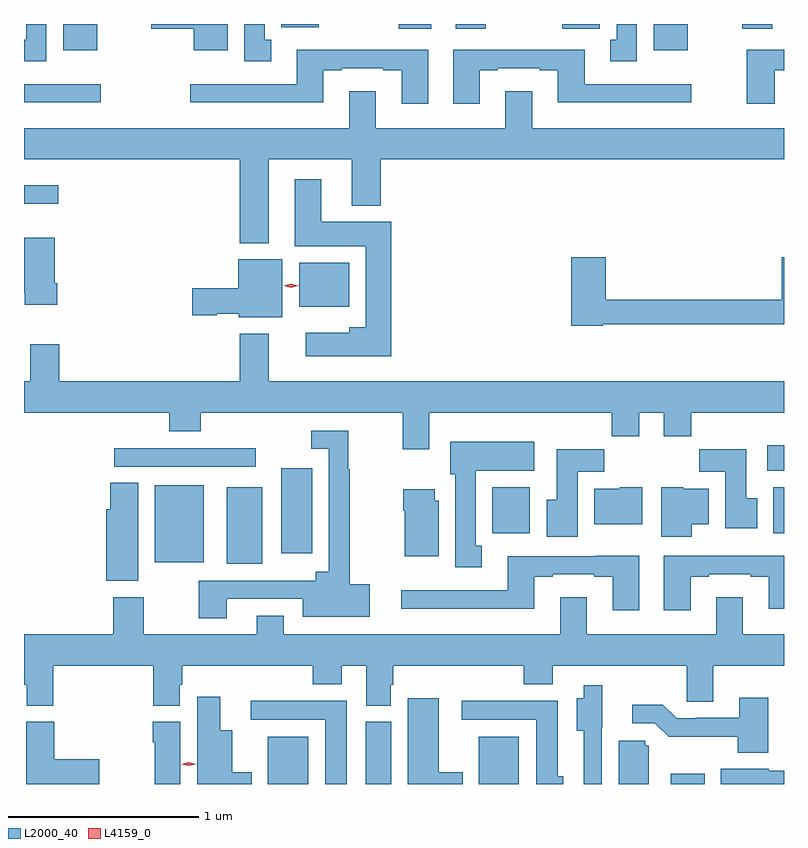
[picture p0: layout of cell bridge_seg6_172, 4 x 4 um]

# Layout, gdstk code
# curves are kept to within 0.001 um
import gdstk
lib = gdstk.Library(unit=1e-6, precision=1e-09)
def R(c, l, rs):  # rectangles x0, y0, x1, y1
    for r in rs: c.add(gdstk.rectangle(r[:2], r[2:], *l))
def P(c, l, *ps):  # polygons
    for p in ps: c.add(gdstk.Polygon(p, *l))
L2000_40 = (2000, 40)
L4159_0 = (4159, 0)

bridge_seg6_172 = lib.new_cell('bridge_seg6_172')
R(bridge_seg6_172, L2000_40, [(145.088,969.357,145.3,969.607), (145.604,969.357,145.738,969.684), (146.198,969.357,146.41,969.607), (147.21,969.357,147.387,969.412), (144.872,970.517,145.06,970.918), (144.494,970.523,144.751,970.93), (145.16,970.572,145.321,971.02), (146.27,970.676,146.467,970.918), (147.749,970.676,147.805,970.918), (147.717,971.006,147.805,971.14), (144.279,971.028,145.024,971.124), (145.253,971.87,145.516,972.1), (143.805,972.411,143.986,972.508), (143.805,972.944,144.208,973.041), (144.011,973.22,144.19,973.357), (147.119,973.22,147.298,973.357), (145.778,973.331,145.948,973.357), (146.078,973.331,146.236,973.357), (147.584,973.331,147.742,973.357), (146.639,973.332,146.835,973.357), (145.16,973.34,145.357,973.357)])
P(bridge_seg6_172, L2000_40, [(145.105,973.274),(145.072,973.274),(145.072,973.357),(144.965,973.357),(144.965,973.161),(145.105,973.161)],
  [(147.031,973.357),(146.924,973.357),(146.924,973.273),(146.891,973.273),(146.891,973.161),(147.031,973.161)],
  [(143.923,973.357),(143.816,973.357),(143.816,973.273),(143.805,973.273),(143.805,973.161),(143.923,973.161)],
  [(144.877,973.357),(144.476,973.357),(144.476,973.331),(144.698,973.331),(144.698,973.22),(144.877,973.22)],
  [(147.757,973.113),(147.805,973.113),(147.805,973.222),(147.61,973.222),(147.61,972.936),(147.757,972.936)],
  [(145.933,973.222),(145.241,973.222),(145.241,973.041),(144.681,973.041),(144.681,972.944),(145.381,972.944),(145.381,973.113),(145.477,973.113),(145.477,973.125),(145.697,973.125),(145.697,973.113),(145.793,973.113),(145.793,972.936),(145.933,972.936)],
  [(146.203,973.113),(146.299,973.113),(146.299,973.125),(146.519,973.125),(146.519,973.113),(146.615,973.113),(146.615,972.944),(147.316,972.944),(147.316,973.041),(146.755,973.041),(146.755,973.222),(146.063,973.222),(146.063,972.936),(146.203,972.936)],
  [(145.093,972.644),(145.529,972.644),(145.529,972.401),(145.682,972.401),(145.682,972.644),(147.805,972.644),(147.805,972.808),(146.479,972.808),(146.479,973.003),(146.339,973.003),(146.339,972.808),(145.657,972.808),(145.657,973.003),(145.517,973.003),(145.517,972.808),(143.805,972.808),(143.805,972.644),(144.941,972.644),(144.941,972.203),(145.093,972.203)],
  [(145.739,972.316),(145.369,972.316),(145.369,972.541),(145.229,972.541),(145.229,972.188),(145.604,972.188),(145.604,971.761),(145.517,971.761),(145.517,971.731),(145.287,971.731),(145.287,971.609),(145.739,971.609)],
  [(143.981,971.992),(143.968,971.992),(143.968,972.232),(143.805,972.232),(143.805,971.94),(143.81,971.94),(143.81,971.88),(143.981,971.88)],
  [(146.85,971.778),(147.805,971.778),(147.805,972.13),(147.794,972.13),(147.794,971.906),(146.867,971.906),(146.867,972.13),(146.684,972.13),(146.684,971.77),(146.85,971.77)],
  [(145.165,972.118),(144.932,972.118),(144.932,971.966),(144.69,971.966),(144.69,971.824),(144.819,971.824),(144.819,971.831),(144.936,971.831),(144.936,971.813),(145.165,971.813)],
  [(145.939,971.312),(146.899,971.312),(146.899,971.188),(147.043,971.188),(147.043,971.312),(147.173,971.312),(147.173,971.188),(147.317,971.188),(147.317,971.312),(147.805,971.312),(147.805,971.476),(145.093,971.476),(145.093,971.728),(144.941,971.728),(144.941,971.476),(143.99,971.476),(143.99,971.671),(143.837,971.671),(143.837,971.476),(143.805,971.476),(143.805,971.312),(144.569,971.312),(144.569,971.213),(144.734,971.213),(144.734,971.312),(145.799,971.312),(145.799,971.118),(145.939,971.118)],
  [(144.871,970.332),(145.271,970.332),(145.271,970.238),(145.624,970.238),(145.624,970.409),(145.519,970.409),(145.519,971.014),(145.511,971.014),(145.511,971.217),(145.317,971.217),(145.317,971.121),(145.41,971.121),(145.41,970.474),(145.34,970.474),(145.34,970.428),(144.724,970.428),(144.724,970.23),(144.871,970.23)],
  [(146.215,970.61),(146.182,970.61),(146.182,971.006),(146.491,971.006),(146.491,971.158),(146.048,971.158),(146.048,970.986),(146.075,970.986),(146.075,970.497),(146.215,970.497)],
  [(146.719,971),(146.858,971),(146.858,971.119),(146.609,971.119),(146.609,970.852),(146.555,970.852),(146.555,970.659),(146.719,970.659)],
  [(147.664,970.86),(147.607,970.86),(147.607,971.119),(147.358,971.119),(147.358,971),(147.497,971),(147.497,970.704),(147.664,970.704)],
  [(144.406,970.943),(144.26,970.943),(144.26,970.803),(144.239,970.803),(144.239,970.427),(144.406,970.427)],
  [(147.319,970.724),(147.409,970.724),(147.409,970.912),(147.276,970.912),(147.276,970.918),(147.158,970.918),(147.158,970.659),(147.319,970.659)],
  [(147.058,970.918),(146.94,970.918),(146.94,970.912),(146.807,970.912),(146.807,970.724),(147.058,970.724)],
  [(145.987,970.848),(145.966,970.848),(145.966,970.909),(145.801,970.909),(145.801,970.796),(145.808,970.796),(145.808,970.556),(145.987,970.556)],
  [(147.043,970.558),(146.815,970.558),(146.815,970.557),(146.351,970.557),(146.351,970.377),(145.791,970.377),(145.791,970.28),(146.491,970.28),(146.491,970.449),(146.587,970.449),(146.587,970.461),(146.807,970.461),(146.807,970.449),(146.903,970.449),(146.903,970.272),(147.043,970.272)],
  [(147.313,970.449),(147.409,970.449),(147.409,970.461),(147.629,970.461),(147.629,970.449),(147.725,970.449),(147.725,970.28),(147.805,970.28),(147.805,970.558),(147.173,970.558),(147.173,970.272),(147.313,970.272)],
  [(143.96,969.98),(144.485,969.98),(144.485,969.769),(144.625,969.769),(144.625,969.879),(144.638,969.879),(144.638,969.98),(145.325,969.98),(145.325,969.881),(145.477,969.881),(145.477,969.98),(145.607,969.98),(145.607,969.769),(145.735,969.769),(145.735,969.879),(145.748,969.879),(145.748,969.98),(146.435,969.98),(146.435,969.881),(146.587,969.881),(146.587,969.98),(147.294,969.98),(147.294,969.79),(147.433,969.79),(147.433,969.98),(147.805,969.98),(147.805,970.144),(147.589,970.144),(147.589,970.339),(147.449,970.339),(147.449,970.144),(146.767,970.144),(146.767,970.339),(146.627,970.339),(146.627,970.144),(145.171,970.144),(145.171,970.243),(145.031,970.243),(145.031,970.144),(144.435,970.144),(144.435,970.339),(144.275,970.339),(144.275,970.144),(143.805,970.144),(143.805,969.98),(143.807,969.98),(143.807,969.879),(143.819,969.879),(143.819,969.769),(143.96,969.769)],
  [(146.847,969.654),(146.848,969.654),(146.848,969.877),(146.75,969.877),(146.75,969.808),(146.714,969.808),(146.714,969.638),(146.751,969.638),(146.751,969.357),(146.847,969.357)],
  [(145.003,969.418),(144.901,969.418),(144.901,969.64),(144.838,969.64),(144.838,969.817),(144.716,969.817),(144.716,969.357),(145.003,969.357)],
  [(147.722,969.811),(147.569,969.811),(147.569,969.705),(147.34,969.705),(147.34,969.702),(147.24,969.702),(147.167,969.775),(147.006,969.775),(147.006,969.678),(147.126,969.678),(147.199,969.605),(147.562,969.606),(147.562,969.521),(147.722,969.521)],
  [(146.113,969.418),(145.987,969.418),(145.987,969.808),(145.826,969.808),(145.826,969.357),(146.113,969.357)],
  [(146.644,969.397),(146.614,969.397),(146.614,969.794),(146.109,969.794),(146.109,969.696),(146.501,969.696),(146.501,969.357),(146.644,969.357)],
  [(145.504,969.794),(144.999,969.794),(144.999,969.696),(145.391,969.696),(145.391,969.357),(145.504,969.357)],
  [(144.202,969.488),(143.963,969.488),(143.963,969.684),(143.816,969.684),(143.816,969.357),(144.202,969.357)],
  [(144.628,969.684),(144.482,969.684),(144.482,969.578),(144.494,969.578),(144.494,969.357),(144.628,969.357)],
  [(147.094,969.558),(147.075,969.558),(147.075,969.585),(146.936,969.585),(146.936,969.357),(147.094,969.357)],
  [(147.805,969.428),(147.726,969.428),(147.726,969.436),(147.472,969.436),(147.472,969.357),(147.805,969.357)])
P(bridge_seg6_172, L4159_0, [(145.21,971.969),(145.171,971.979),(145.171,971.979),(145.171,971.979),(145.21,971.989),(145.248,971.979),(145.248,971.979),(145.248,971.979)],
  [(144.672,969.452),(144.632,969.462),(144.632,969.462),(144.632,969.462),(144.672,969.472),(144.712,969.462),(144.712,969.462),(144.712,969.462)])

lib.write_gds('bridge_seg6_172.gds')
